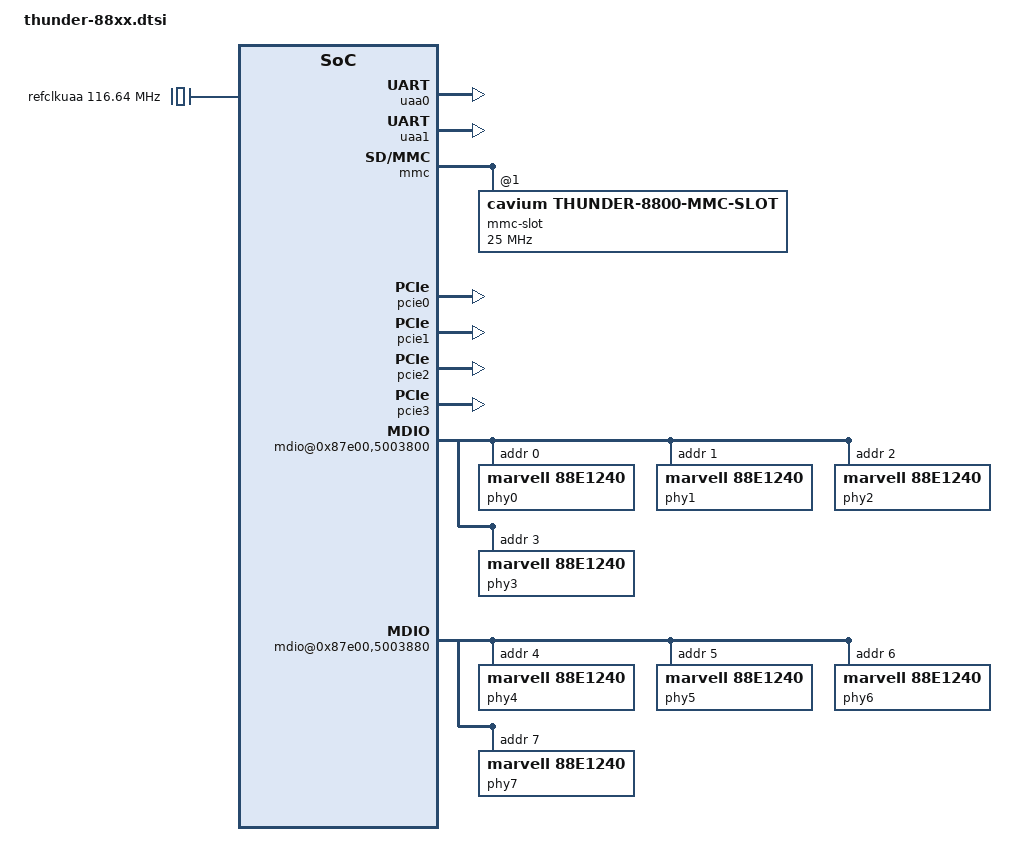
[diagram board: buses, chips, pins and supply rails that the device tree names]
/*
 * Cavium Thunder DTS file - Thunder SoC description
 *
 * Copyright (C) 2014, Cavium Inc.
 *
 * This file is dual-licensed: you can use it either under the terms
 * of the GPL or the X11 license, at your option. Note that this dual
 * licensing only applies to this file, and not this project as a
 * whole.
 *
 *  a) This library is free software; you can redistribute it and/or
 *     modify it under the terms of the GNU General Public License as
 *     published by the Free Software Foundation; either version 2 of the
 *     License, or (at your option) any later version.
 *
 *     This library is distributed in the hope that it will be useful,
 *     but WITHOUT ANY WARRANTY; without even the implied warranty of
 *     MERCHANTABILITY or FITNESS FOR A PARTICULAR PURPOSE.  See the
 *     GNU General Public License for more details.
 *
 *     You should have received a copy of the GNU General Public
 *     License along with this library; if not, write to the Free
 *     Software Foundation, Inc., 51 Franklin St, Fifth Floor, Boston,
 *     MA 02110-1301 USA
 *
 * Or, alternatively,
 *
 *  b) Permission is hereby granted, free of charge, to any person
 *     obtaining a copy of this software and associated documentation
 *     files (the "Software"), to deal in the Software without
 *     restriction, including without limitation the rights to use,
 *     copy, modify, merge, publish, distribute, sublicense, and/or
 *     sell copies of the Software, and to permit persons to whom the
 *     Software is furnished to do so, subject to the following
 *     conditions:
 *
 *     The above copyright notice and this permission notice shall be
 *     included in all copies or substantial portions of the Software.
 *
 *     THE SOFTWARE IS PROVIDED "AS IS", WITHOUT WARRANTY OF ANY KIND,
 *     EXPRESS OR IMPLIED, INCLUDING BUT NOT LIMITED TO THE WARRANTIES
 *     OF MERCHANTABILITY, FITNESS FOR A PARTICULAR PURPOSE AND
 *     NONINFRINGEMENT. IN NO EVENT SHALL THE AUTHORS OR COPYRIGHT
 *     HOLDERS BE LIABLE FOR ANY CLAIM, DAMAGES OR OTHER LIABILITY,
 *     WHETHER IN AN ACTION OF CONTRACT, TORT OR OTHERWISE, ARISING
 *     FROM, OUT OF OR IN CONNECTION WITH THE SOFTWARE OR THE USE OR
 *     OTHER DEALINGS IN THE SOFTWARE.
 */

/ {
	compatible = "cavium,thunder-88xx";
	interrupt-parent = <&gic0>;
	#address-cells = <2>;
	#size-cells = <2>;

	psci {
		compatible = "arm,psci-0.2";
		method = "smc";
	};

	cpus {
		#address-cells = <2>;
		#size-cells = <0>;

		cpu@000 {
			device_type = "cpu";
			compatible = "cavium,thunder", "arm,armv8";
			reg = <0x0 0x000>;
			enable-method = "psci";
		};
		cpu@001 {
			device_type = "cpu";
			compatible = "cavium,thunder", "arm,armv8";
			reg = <0x0 0x001>;
			enable-method = "psci";
		};
		cpu@002 {
			device_type = "cpu";
			compatible = "cavium,thunder", "arm,armv8";
			reg = <0x0 0x002>;
			enable-method = "psci";
		};
		cpu@003 {
			device_type = "cpu";
			compatible = "cavium,thunder", "arm,armv8";
			reg = <0x0 0x003>;
			enable-method = "psci";
		};
		cpu@004 {
			device_type = "cpu";
			compatible = "cavium,thunder", "arm,armv8";
			reg = <0x0 0x004>;
			enable-method = "psci";
		};
		cpu@005 {
			device_type = "cpu";
			compatible = "cavium,thunder", "arm,armv8";
			reg = <0x0 0x005>;
			enable-method = "psci";
		};
		cpu@006 {
			device_type = "cpu";
			compatible = "cavium,thunder", "arm,armv8";
			reg = <0x0 0x006>;
			enable-method = "psci";
		};
		cpu@007 {
			device_type = "cpu";
			compatible = "cavium,thunder", "arm,armv8";
			reg = <0x0 0x007>;
			enable-method = "psci";
		};
		cpu@008 {
			device_type = "cpu";
			compatible = "cavium,thunder", "arm,armv8";
			reg = <0x0 0x008>;
			enable-method = "psci";
		};
		cpu@009 {
			device_type = "cpu";
			compatible = "cavium,thunder", "arm,armv8";
			reg = <0x0 0x009>;
			enable-method = "psci";
		};
		cpu@00a {
			device_type = "cpu";
			compatible = "cavium,thunder", "arm,armv8";
			reg = <0x0 0x00a>;
			enable-method = "psci";
		};
		cpu@00b {
			device_type = "cpu";
			compatible = "cavium,thunder", "arm,armv8";
			reg = <0x0 0x00b>;
			enable-method = "psci";
		};
		cpu@00c {
			device_type = "cpu";
			compatible = "cavium,thunder", "arm,armv8";
			reg = <0x0 0x00c>;
			enable-method = "psci";
		};
		cpu@00d {
			device_type = "cpu";
			compatible = "cavium,thunder", "arm,armv8";
			reg = <0x0 0x00d>;
			enable-method = "psci";
		};
		cpu@00e {
			device_type = "cpu";
			compatible = "cavium,thunder", "arm,armv8";
			reg = <0x0 0x00e>;
			enable-method = "psci";
		};
		cpu@00f {
			device_type = "cpu";
			compatible = "cavium,thunder", "arm,armv8";
			reg = <0x0 0x00f>;
			enable-method = "psci";
		};
		cpu@100 {
			device_type = "cpu";
			compatible = "cavium,thunder", "arm,armv8";
			reg = <0x0 0x100>;
			enable-method = "psci";
		};
		cpu@101 {
			device_type = "cpu";
			compatible = "cavium,thunder", "arm,armv8";
			reg = <0x0 0x101>;
			enable-method = "psci";
		};
		cpu@102 {
			device_type = "cpu";
			compatible = "cavium,thunder", "arm,armv8";
			reg = <0x0 0x102>;
			enable-method = "psci";
		};
		cpu@103 {
			device_type = "cpu";
			compatible = "cavium,thunder", "arm,armv8";
			reg = <0x0 0x103>;
			enable-method = "psci";
		};
		cpu@104 {
			device_type = "cpu";
			compatible = "cavium,thunder", "arm,armv8";
			reg = <0x0 0x104>;
			enable-method = "psci";
		};
		cpu@105 {
			device_type = "cpu";
			compatible = "cavium,thunder", "arm,armv8";
			reg = <0x0 0x105>;
			enable-method = "psci";
		};
		cpu@106 {
			device_type = "cpu";
			compatible = "cavium,thunder", "arm,armv8";
			reg = <0x0 0x106>;
			enable-method = "psci";
		};
		cpu@107 {
			device_type = "cpu";
			compatible = "cavium,thunder", "arm,armv8";
			reg = <0x0 0x107>;
			enable-method = "psci";
		};
		cpu@108 {
			device_type = "cpu";
			compatible = "cavium,thunder", "arm,armv8";
			reg = <0x0 0x108>;
			enable-method = "psci";
		};
		cpu@109 {
			device_type = "cpu";
			compatible = "cavium,thunder", "arm,armv8";
			reg = <0x0 0x109>;
			enable-method = "psci";
		};
		cpu@10a {
			device_type = "cpu";
			compatible = "cavium,thunder", "arm,armv8";
			reg = <0x0 0x10a>;
			enable-method = "psci";
		};
		cpu@10b {
			device_type = "cpu";
			compatible = "cavium,thunder", "arm,armv8";
			reg = <0x0 0x10b>;
			enable-method = "psci";
		};
		cpu@10c {
			device_type = "cpu";
			compatible = "cavium,thunder", "arm,armv8";
			reg = <0x0 0x10c>;
			enable-method = "psci";
		};
		cpu@10d {
			device_type = "cpu";
			compatible = "cavium,thunder", "arm,armv8";
			reg = <0x0 0x10d>;
			enable-method = "psci";
		};
		cpu@10e {
			device_type = "cpu";
			compatible = "cavium,thunder", "arm,armv8";
			reg = <0x0 0x10e>;
			enable-method = "psci";
		};
		cpu@10f {
			device_type = "cpu";
			compatible = "cavium,thunder", "arm,armv8";
			reg = <0x0 0x10f>;
			enable-method = "psci";
		};
		cpu@200 {
			device_type = "cpu";
			compatible = "cavium,thunder", "arm,armv8";
			reg = <0x0 0x200>;
			enable-method = "psci";
		};
		cpu@201 {
			device_type = "cpu";
			compatible = "cavium,thunder", "arm,armv8";
			reg = <0x0 0x201>;
			enable-method = "psci";
		};
		cpu@202 {
			device_type = "cpu";
			compatible = "cavium,thunder", "arm,armv8";
			reg = <0x0 0x202>;
			enable-method = "psci";
		};
		cpu@203 {
			device_type = "cpu";
			compatible = "cavium,thunder", "arm,armv8";
			reg = <0x0 0x203>;
			enable-method = "psci";
		};
		cpu@204 {
			device_type = "cpu";
			compatible = "cavium,thunder", "arm,armv8";
			reg = <0x0 0x204>;
			enable-method = "psci";
		};
		cpu@205 {
			device_type = "cpu";
			compatible = "cavium,thunder", "arm,armv8";
			reg = <0x0 0x205>;
			enable-method = "psci";
		};
		cpu@206 {
			device_type = "cpu";
			compatible = "cavium,thunder", "arm,armv8";
			reg = <0x0 0x206>;
			enable-method = "psci";
		};
		cpu@207 {
			device_type = "cpu";
			compatible = "cavium,thunder", "arm,armv8";
			reg = <0x0 0x207>;
			enable-method = "psci";
		};
		cpu@208 {
			device_type = "cpu";
			compatible = "cavium,thunder", "arm,armv8";
			reg = <0x0 0x208>;
			enable-method = "psci";
		};
		cpu@209 {
			device_type = "cpu";
			compatible = "cavium,thunder", "arm,armv8";
			reg = <0x0 0x209>;
			enable-method = "psci";
		};
		cpu@20a {
			device_type = "cpu";
			compatible = "cavium,thunder", "arm,armv8";
			reg = <0x0 0x20a>;
			enable-method = "psci";
		};
		cpu@20b {
			device_type = "cpu";
			compatible = "cavium,thunder", "arm,armv8";
			reg = <0x0 0x20b>;
			enable-method = "psci";
		};
		cpu@20c {
			device_type = "cpu";
			compatible = "cavium,thunder", "arm,armv8";
			reg = <0x0 0x20c>;
			enable-method = "psci";
		};
		cpu@20d {
			device_type = "cpu";
			compatible = "cavium,thunder", "arm,armv8";
			reg = <0x0 0x20d>;
			enable-method = "psci";
		};
		cpu@20e {
			device_type = "cpu";
			compatible = "cavium,thunder", "arm,armv8";
			reg = <0x0 0x20e>;
			enable-method = "psci";
		};
		cpu@20f {
			device_type = "cpu";
			compatible = "cavium,thunder", "arm,armv8";
			reg = <0x0 0x20f>;
			enable-method = "psci";
		};
	};

	timer {
		compatible = "arm,armv8-timer";
		interrupts = <1 13 0xff01>,
		             <1 14 0xff01>,
		             <1 11 0xff01>,
		             <1 10 0xff01>;
	};

	soc {
		compatible = "simple-bus";
		#address-cells = <2>;
		#size-cells = <2>;
		ranges;

		refclkuaa: refclkuaa {
			compatible = "fixed-clock";
			#clock-cells = <0>;
			clock-frequency = <116640000>;
			clock-output-names = "refclkuaa";
		};

		gic0: interrupt-controller@8010,00000000 {
			compatible = "arm,gic-v3";
			#interrupt-cells = <3>;
			#address-cells = <2>;
			#size-cells = <2>;
			ranges;
			interrupt-controller;
			reg = <0x8010 0x00000000 0x0 0x010000>, /* GICD */
			      <0x8010 0x80000000 0x0 0x600000>; /* GICR */
			interrupts = <1 9 0xf04>;

			its: gic-its@8010,00020000 {
				compatible = "arm,gic-v3-its";
				msi-controller;
				reg = <0x8010 0x20000 0x0 0x200000>;
			};
		};

		uaa0: serial@87e0,24000000 {
			compatible = "arm,pl011", "arm,primecell";
			reg = <0x87e0 0x24000000 0x0 0x1000>;
			interrupts = <1 21 4>;
			clocks = <&refclkuaa>;
			clock-names = "apb_pclk";
		};

		uaa1: serial@87e0,25000000 {
			compatible = "arm,pl011", "arm,primecell";
			reg = <0x87e0 0x25000000 0x0 0x1000>;
			interrupts = <1 22 4>;
			clocks = <&refclkuaa>;
			clock-names = "apb_pclk";
		};
	};

	mmc: mmc@87e0,09002000 {
		compatible = "cavium,thunder-8800-mmc";
		reg = <0x87e0 0x09002000 0x0 0x100>,
		      <0x87e0 0x09000180 0x0 0x020>;
		
		#address-cells = <1>;
		#size-cells = <0>;
		/*interrupts = <1 23 4>,
		             <1 24 4>,
		             <1 25 4>,
		             <1 26 4>,
		             <1 27 4>,
		             <1 28 4>,
		             <1 29 4>,
		             <1 30 4>,
		             <1 31 4>;*/
		/* Hack to make MMC as PCIe device */
		interrupts = <1 8192 4>,
		             <1 8193 4>,
		             <1 8194 4>,
		             <1 8195 4>,
		             <1 8196 4>,
		             <1 8197 4>,
		             <1 8198 4>,
		             <1 8199 4>,
		             <1 8200 4>;
	
		/*power-gpios = <&gpio 8 0>;*/  /* Power on GPIO 8, active high */

		/* Don't Touch Slot0 on EVB */
		/*mmc-slot@0 {
                                compatible = "cavium,thunder-8800-mmc-slot";
                                reg = <0>;
                                voltage-ranges = <3300 3300>;
                        };*/
	
                mmc-slot@1 {
                                compatible = "cavium,thunder-8800-mmc-slot";
                                reg = <1>;
                                voltage-ranges = <3300 3300>;
                                spi-max-frequency = <25000000>;
                                cavium,bus-max-width = <8>;
                        };
        };

	pcie0: pcie0@0x8480,00000000 {
	        compatible = "cavium,thunder-pcie";
		device_type = "pci";
		msi-parent = <&its>;
		bus-range = <0 255>;
		#size-cells = <2>;
		#address-cells = <3>;
		#stream-id-cells = <1>;
		reg = <0x8480 0x00000000 0 0x10000000>;  /* Configuration space */
		ranges = <0x03000000 0x8010 0x00000000 0x8010 0x00000000 0x70 0x00000000>, /* mem ranges */
			<0x03000000 0x8300 0x00000000 0x8300 0x00000000 0x80 0x00000000>,
			<0x03000000 0x87e0 0x00000000 0x87e0 0x00000000 0x01 0x00000000>;
        };

	pcie1: pcie1@0x8490,00000000 {
	        compatible = "cavium,thunder-pcie";
		device_type = "pci";
		msi-parent = <&its>;
		bus-range = <0 255>;
		#size-cells = <2>;
		#address-cells = <3>;
		#stream-id-cells = <1>;
		reg = <0x8490 0x00000000 0 0x10000000>;  /* Configuration space */
		ranges = <0x03000000 0x8310 0x00000000 0x8310 0x00000000 0x00 0x10000000>, /* mem ranges */
			<0x03000000 0x8100 0x00000000 0x8100 0x00000000 0x80 0x00000000>;
        };

	pcie2: pcie2@0x84a0,00000000 {
	        compatible = "cavium,thunder-pcie";
		device_type = "pci";
		msi-parent = <&its>;
		bus-range = <0 255>;
		#size-cells = <2>;
		#address-cells = <3>;
		#stream-id-cells = <1>;
		reg = <0x84a0 0x00000000 0 0x10000000>;  /* Configuration space */
		ranges = <0x03000000 0x8320 0x00000000 0x8320 0x00000000 0x00 0x10000000>, /* mem ranges */
			<0x03000000 0x8430 0x00000000 0x8430 0x00000000 0x01 0x00000000>;
        };

	pcie3: pcie3@0x84b0,00000000 {
	        compatible = "cavium,thunder-pcie";
		device_type = "pci";
		msi-parent = <&its>;
		bus-range = <0 255>;
		#size-cells = <2>;
		#address-cells = <3>;
		#stream-id-cells = <1>;
		reg = <0x84b0 0x00000000 0 0x10000000>;  /* Configuration space */
		ranges = <0x03000000 0x8330 0x00000000 0x8330 0x00000000 0x00 0x10000000>, /* mem ranges */
			<0x03000000 0x8180 0x00000000 0x8180 0x00000000 0x80 0x00000000>;
        };

	smmu0@0x8300,00000000 {
                compatible = "thunder,smmu-v2";
                reg = <0x8300 0x0 0x0 0x2000000>;
                #global-interrupts = <1>;
		interrupts = <1 100 4>, <1 101 4>, <1 101 4>, <1 101 4>, <1 101 4>, <1 101 4>,
			     <1 101 4>, <1 101 4>, <1 101 4>, <1 101 4>, <1 101 4>, <1 101 4>,
			     <1 101 4>, <1 101 4>, <1 101 4>, <1 101 4>, <1 101 4>, <1 101 4>,
			     <1 101 4>, <1 101 4>, <1 101 4>, <1 101 4>, <1 101 4>, <1 101 4>,
			     <1 101 4>, <1 101 4>, <1 101 4>, <1 101 4>, <1 101 4>, <1 101 4>,
			     <1 101 4>, <1 101 4>, <1 101 4>, <1 101 4>, <1 101 4>, <1 101 4>,
			     <1 101 4>, <1 101 4>, <1 101 4>, <1 101 4>, <1 101 4>, <1 101 4>,
			     <1 101 4>, <1 101 4>, <1 101 4>, <1 101 4>, <1 101 4>, <1 101 4>,
			     <1 101 4>, <1 101 4>, <1 101 4>, <1 101 4>, <1 101 4>, <1 101 4>,
			     <1 101 4>, <1 101 4>, <1 101 4>, <1 101 4>, <1 101 4>, <1 101 4>,
			     <1 101 4>, <1 101 4>, <1 101 4>, <1 101 4>, <1 101 4>, <1 101 4>,
			     <1 101 4>, <1 101 4>, <1 101 4>, <1 101 4>, <1 101 4>, <1 101 4>,
			     <1 101 4>, <1 101 4>, <1 101 4>, <1 101 4>, <1 101 4>, <1 101 4>,
			     <1 101 4>, <1 101 4>, <1 101 4>, <1 101 4>, <1 101 4>, <1 101 4>,
			     <1 101 4>, <1 101 4>, <1 101 4>, <1 101 4>, <1 101 4>, <1 101 4>,
			     <1 101 4>, <1 101 4>, <1 101 4>, <1 101 4>, <1 101 4>, <1 101 4>,
			     <1 101 4>, <1 101 4>, <1 101 4>, <1 101 4>, <1 101 4>, <1 101 4>,
			     <1 101 4>, <1 101 4>, <1 101 4>, <1 101 4>, <1 101 4>, <1 101 4>,
			     <1 101 4>, <1 101 4>, <1 101 4>, <1 101 4>, <1 101 4>, <1 101 4>,
			     <1 101 4>, <1 101 4>, <1 101 4>, <1 101 4>, <1 101 4>, <1 101 4>,
			     <1 101 4>, <1 101 4>, <1 101 4>, <1 101 4>, <1 101 4>, <1 101 4>,
			     <1 101 4>, <1 101 4>, <1 101 4>;

                mmu-masters = <&pcie0 0x100>;
        };

	smmu1@0x8310,00000000 {
                compatible = "thunder,smmu-v2";
                reg = <0x8310 0x0 0x0 0x2000000>;
                #global-interrupts = <1>;
                interrupts = <1 102 4>, <1 103 4>, <1 103 4>, <1 103 4>, <1 103 4>, <1 103 4>,
			     <1 103 4>, <1 103 4>, <1 103 4>, <1 103 4>, <1 103 4>, <1 103 4>,
			     <1 103 4>, <1 103 4>, <1 103 4>, <1 103 4>, <1 103 4>, <1 103 4>,
			     <1 103 4>, <1 103 4>, <1 103 4>, <1 103 4>, <1 103 4>, <1 103 4>,
			     <1 103 4>, <1 103 4>, <1 103 4>, <1 103 4>, <1 103 4>, <1 103 4>,
			     <1 103 4>, <1 103 4>, <1 103 4>, <1 103 4>, <1 103 4>, <1 103 4>,
			     <1 103 4>, <1 103 4>, <1 103 4>, <1 103 4>, <1 103 4>, <1 103 4>,
			     <1 103 4>, <1 103 4>, <1 103 4>, <1 103 4>, <1 103 4>, <1 103 4>,
			     <1 103 4>, <1 103 4>, <1 103 4>, <1 103 4>, <1 103 4>, <1 103 4>,
			     <1 103 4>, <1 103 4>, <1 103 4>, <1 103 4>, <1 103 4>, <1 103 4>,
			     <1 103 4>, <1 103 4>, <1 103 4>, <1 103 4>, <1 103 4>, <1 103 4>,
			     <1 103 4>, <1 103 4>, <1 103 4>, <1 103 4>, <1 103 4>, <1 103 4>,
			     <1 103 4>, <1 103 4>, <1 103 4>, <1 103 4>, <1 103 4>, <1 103 4>,
			     <1 103 4>, <1 103 4>, <1 103 4>, <1 103 4>, <1 103 4>, <1 103 4>,
			     <1 103 4>, <1 103 4>, <1 103 4>, <1 103 4>, <1 103 4>, <1 103 4>,
			     <1 103 4>, <1 103 4>, <1 103 4>, <1 103 4>, <1 103 4>, <1 103 4>,
			     <1 103 4>, <1 103 4>, <1 103 4>, <1 103 4>, <1 103 4>, <1 103 4>,
			     <1 103 4>, <1 103 4>, <1 103 4>, <1 103 4>, <1 103 4>, <1 103 4>,
			     <1 103 4>, <1 103 4>, <1 103 4>, <1 103 4>, <1 103 4>, <1 103 4>,
			     <1 103 4>, <1 103 4>, <1 103 4>, <1 103 4>, <1 103 4>, <1 103 4>,
			     <1 103 4>, <1 103 4>, <1 103 4>, <1 103 4>, <1 103 4>, <1 103 4>,
			     <1 103 4>, <1 103 4>, <1 103 4>;

                mmu-masters = <&pcie1 0x100>;
        };

	smmu2@0x8320,00000000 {
                compatible = "thunder,smmu-v2";
                reg = <0x8320 0x0 0x0 0x2000000>;
                #global-interrupts = <1>;
                interrupts = <1 104 4>, <1 105 4>, <1 105 4>, <1 105 4>, <1 105 4>, <1 105 4>,
			     <1 105 4>, <1 105 4>, <1 105 4>, <1 105 4>, <1 105 4>, <1 105 4>,
			     <1 105 4>, <1 105 4>, <1 105 4>, <1 105 4>, <1 105 4>, <1 105 4>,
			     <1 105 4>, <1 105 4>, <1 105 4>, <1 105 4>, <1 105 4>, <1 105 4>,
			     <1 105 4>, <1 105 4>, <1 105 4>, <1 105 4>, <1 105 4>, <1 105 4>,
			     <1 105 4>, <1 105 4>, <1 105 4>, <1 105 4>, <1 105 4>, <1 105 4>,
			     <1 105 4>, <1 105 4>, <1 105 4>, <1 105 4>, <1 105 4>, <1 105 4>,
			     <1 105 4>, <1 105 4>, <1 105 4>, <1 105 4>, <1 105 4>, <1 105 4>,
			     <1 105 4>, <1 105 4>, <1 105 4>, <1 105 4>, <1 105 4>, <1 105 4>,
			     <1 105 4>, <1 105 4>, <1 105 4>, <1 105 4>, <1 105 4>, <1 105 4>,
			     <1 105 4>, <1 105 4>, <1 105 4>, <1 105 4>, <1 105 4>, <1 105 4>,
			     <1 105 4>, <1 105 4>, <1 105 4>, <1 105 4>, <1 105 4>, <1 105 4>,
			     <1 105 4>, <1 105 4>, <1 105 4>, <1 105 4>, <1 105 4>, <1 105 4>,
			     <1 105 4>, <1 105 4>, <1 105 4>, <1 105 4>, <1 105 4>, <1 105 4>,
			     <1 105 4>, <1 105 4>, <1 105 4>, <1 105 4>, <1 105 4>, <1 105 4>,
			     <1 105 4>, <1 105 4>, <1 105 4>, <1 105 4>, <1 105 4>, <1 105 4>,
			     <1 105 4>, <1 105 4>, <1 105 4>, <1 105 4>, <1 105 4>, <1 105 4>,
			     <1 105 4>, <1 105 4>, <1 105 4>, <1 105 4>, <1 105 4>, <1 105 4>,
			     <1 105 4>, <1 105 4>, <1 105 4>, <1 105 4>, <1 105 4>, <1 105 4>,
			     <1 105 4>, <1 105 4>, <1 105 4>, <1 105 4>, <1 105 4>, <1 105 4>,
			     <1 105 4>, <1 105 4>, <1 105 4>, <1 105 4>, <1 105 4>, <1 105 4>,
			     <1 105 4>, <1 105 4>, <1 105 4>;

                mmu-masters = <&pcie2 0x100>;
        };

	smmu3@0x8330,00000000 {
                compatible = "thunder,smmu-v2";
                reg = <0x8330 0x0 0x0 0x2000000>;
                #global-interrupts = <1>;
                interrupts = <1 106 4>, <1 107 4>, <1 107 4>, <1 107 4>, <1 107 4>, <1 107 4>,
			     <1 107 4>, <1 107 4>, <1 107 4>, <1 107 4>, <1 107 4>, <1 107 4>,
			     <1 107 4>, <1 107 4>, <1 107 4>, <1 107 4>, <1 107 4>, <1 107 4>,
			     <1 107 4>, <1 107 4>, <1 107 4>, <1 107 4>, <1 107 4>, <1 107 4>,
			     <1 107 4>, <1 107 4>, <1 107 4>, <1 107 4>, <1 107 4>, <1 107 4>,
			     <1 107 4>, <1 107 4>, <1 107 4>, <1 107 4>, <1 107 4>, <1 107 4>,
			     <1 107 4>, <1 107 4>, <1 107 4>, <1 107 4>, <1 107 4>, <1 107 4>,
			     <1 107 4>, <1 107 4>, <1 107 4>, <1 107 4>, <1 107 4>, <1 107 4>,
			     <1 107 4>, <1 107 4>, <1 107 4>, <1 107 4>, <1 107 4>, <1 107 4>,
			     <1 107 4>, <1 107 4>, <1 107 4>, <1 107 4>, <1 107 4>, <1 107 4>,
			     <1 107 4>, <1 107 4>, <1 107 4>, <1 107 4>, <1 107 4>, <1 107 4>,
			     <1 107 4>, <1 107 4>, <1 107 4>, <1 107 4>, <1 107 4>, <1 107 4>,
			     <1 107 4>, <1 107 4>, <1 107 4>, <1 107 4>, <1 107 4>, <1 107 4>,
			     <1 107 4>, <1 107 4>, <1 107 4>, <1 107 4>, <1 107 4>, <1 107 4>,
			     <1 107 4>, <1 107 4>, <1 107 4>, <1 107 4>, <1 107 4>, <1 107 4>,
			     <1 107 4>, <1 107 4>, <1 107 4>, <1 107 4>, <1 107 4>, <1 107 4>,
			     <1 107 4>, <1 107 4>, <1 107 4>, <1 107 4>, <1 107 4>, <1 107 4>,
			     <1 107 4>, <1 107 4>, <1 107 4>, <1 107 4>, <1 107 4>, <1 107 4>,
			     <1 107 4>, <1 107 4>, <1 107 4>, <1 107 4>, <1 107 4>, <1 107 4>,
			     <1 107 4>, <1 107 4>, <1 107 4>, <1 107 4>, <1 107 4>, <1 107 4>,
			     <1 107 4>, <1 107 4>, <1 107 4>, <1 107 4>, <1 107 4>, <1 107 4>,
			     <1 107 4>, <1 107 4>, <1 107 4>;

                mmu-masters = <&pcie3 0x100>;
        };

	mdio@0x87e00,5003800 {
		compatible = "cavium,octeon-3860-mdio";
		#address-cells = <1>;
		#size-cells = <0>;
		reg = <0x87e0 0x05003800 0x0 0x30>;

		phy0: lmac0 {
			reg = <0> ;
			compatible = "marvell,88e1240", "ethernet-phy-ieee802.3-c22";
	      		/* LED[2,1]: Speed, LED[3]: RX, LED[0]: TX, all open-drain */
	    		marvell,reg-init = <3 0x10 0 0x8665>,
 					<3 0x11 0 0x00aa>,
					<3 0x12 0 0x4105>,
					<3 0x13 0 0x8a08>;

      		};
		phy1: lmac1 {
			reg = <1> ;
	   		compatible = "marvell,88e1240", "ethernet-phy-ieee802.3-c22";
	      		marvell,reg-init = <3 0x10 0 0x8665>,
			      <3 0x11 0 0x00aa>,
			      <3 0x12 0 0x4105>,
			      <3 0x13 0 0x8a08>;
      		};
		phy2: lmac2 {
			reg = <2> ;
		      	compatible = "marvell,88e1240", "ethernet-phy-ieee802.3-c22";
			marvell,reg-init = <3 0x10 0 0x8665>,
			      <3 0x11 0 0x00aa>,
			      <3 0x12 0 0x4105>,
			      <3 0x13 0 0x8a08>;

      		};
		phy3: lmac3 {
			reg = <3> ;
	      		compatible = "marvell,88e1240", "ethernet-phy-ieee802.3-c22";
	 	     	marvell,reg-init = <3 0x10 0 0x8665>,
			      <3 0x11 0 0x00aa>,
			      <3 0x12 0 0x4105>,
			      <3 0x13 0 0x8a08>;
      		};
	};

	mdio@0x87e00,5003880 {
		compatible = "cavium,octeon-3860-mdio";
		#address-cells = <1>;
		#size-cells = <0>;
		reg = <0x87e0 0x05003880 0x0 0x30>;

		phy4: lmac4 {
			reg = <4> ;
			compatible = "marvell,88e1240", "ethernet-phy-ieee802.3-c22";
			marvell,reg-init = <3 0x10 0 0x8665>,
			      <3 0x11 0 0x00aa>,
			      <3 0x12 0 0x4105>,
			      <3 0x13 0 0x8a08>;
      		};
		phy5: lmac5 {
			reg = <5> ;
			compatible = "marvell,88e1240", "ethernet-phy-ieee802.3-c22";
			marvell,reg-init = <3 0x10 0 0x8665>,
			      <3 0x11 0 0x00aa>,
			      <3 0x12 0 0x4105>,
			      <3 0x13 0 0x8a08>;

      		};
		phy6: lmac6 {
			reg = <6> ;
			compatible = "marvell,88e1240", "ethernet-phy-ieee802.3-c22";
			marvell,reg-init = <3 0x10 0 0x8665>,
			      <3 0x11 0 0x00aa>,
			      <3 0x12 0 0x4105>,
			      <3 0x13 0 0x8a08>;
      		};
		phy7: lmac7 {
			reg = <7> ;
			compatible = "marvell,88e1240", "ethernet-phy-ieee802.3-c22";
			marvell,reg-init = <3 0x10 0 0x8665>,
			      <3 0x11 0 0x00aa>,
			      <3 0x12 0 0x4105>,
			      <3 0x13 0 0x8a08>;
      		};
	};

	/**BGX0**/
	bgx0 {
		#address-cells = <1>;
		#size-cells = <0>;
		reg = <0x87e0 0xe0000000 0x0 0x1000000>; 

		lmac0 {
			reg = <0> ;
			local-mac-address = [ 00 00 00 00 00 00 ];
			phy-handle = <&phy0>;
		};
		lmac1 {
			reg = <1> ;
			local-mac-address = [ 00 00 00 00 00 00 ];
			phy-handle = <&phy1>;
		};
		lmac2 {
			reg = <2> ;
			local-mac-address = [ 00 00 00 00 00 00 ];
			phy-handle = <&phy2>;
		};
		lmac3 {
			reg = <3> ;
			local-mac-address = [ 00 00 00 00 00 00 ];
			phy-handle = <&phy3>;
		};
	};

	/**BGX1**/
	bgx1 {
		#address-cells = <1>;
		#size-cells = <0>;
		reg = <0x87e0 0xe1000000 0x0 0x1000000>; 

		lmac0 {
			reg = <4> ;
			local-mac-address = [ 00 00 00 00 00 00 ];
			phy-handle = <&phy4>;
		};
		lmac1 {
			reg = <5> ;
			phy-handle = <&phy5>;
			local-mac-address = [ 00 00 00 00 00 00 ];
		};
		lmac2 {
			reg = <6> ;
			phy-handle = <&phy6>;
			local-mac-address = [ 00 00 00 00 00 00 ];
		};
		lmac3 {
			reg = <7> ;
			phy-handle = <&phy7>;
			local-mac-address = [ 00 00 00 00 00 00 ];
		};
	};
};
